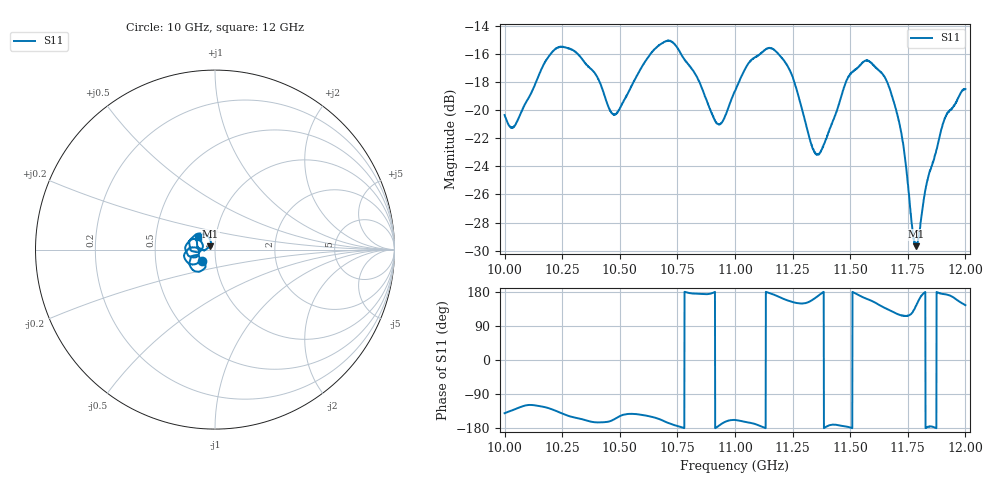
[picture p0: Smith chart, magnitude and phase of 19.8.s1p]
[Version] 2.0
! Rohde & Schwarz Vector Network Analyzer
! Rohde-Schwarz,ZNL20-2Port,1323001220200009,1.71.1.10-23.02.1.238
! Port Assignments:
! Nominal Port -> Actual Test Port
!  1 -> 1
! Created: GMT 2024-08-27 13:56:46
# Hz S DB R 50
[Number of Ports] 1
! freq[Hz]  S11[mag dB]  S11[ang]
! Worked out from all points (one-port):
!   2001 points, 10 GHz to 12 GHz, reference 50 ohm
!   lowest |S11| = -29.7 dB at 11.79 GHz (marker M1), VSWR 1.07, Z = 47.4 + j1.83 ohm
!   |S11| at or under -10 dB: start of sweep to end of sweep
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[Number of Frequencies] 28
[Network Data]
1e10  -20.35 -140.4
1.0042e10  -21.13 -130.5
1.0178e10  -16.51 -124.9
1.025e10  -15.50 -141.2
1.039e10  -17.34 -164.0
1.0466e10  -20.23 -159.5
1.05e10  -19.88 -148.1
1.0646e10  -15.76 -151.1
1.0709e10  -15.05 -165.8
1.075e10  -15.58 -174.2
1.0835e10  -17.65 174.8
1.0923e10  -20.96 -176.5
1.1e10  -18.64 -158.5
1.1061e10  -16.62 -165.3
1.1144e10  -15.60 177.7
1.125e10  -17.63 153.0
1.1329e10  -22.33 156.2
1.1358e10  -23.15 168.1
1.15e10  -17.44 -178.1
1.1573e10  -16.47 161.1
1.1652e10  -17.73 136.8
1.1713e10  -20.91 119.5
1.175e10  -25.25 116.3
1.1772e10  -28.80 127.3
1.1786e10  -29.68 143.9
1.1834e10  -25.09 -177.5
1.1903e10  -20.94 174.2
1.2e10  -18.51 144.6
[End]
